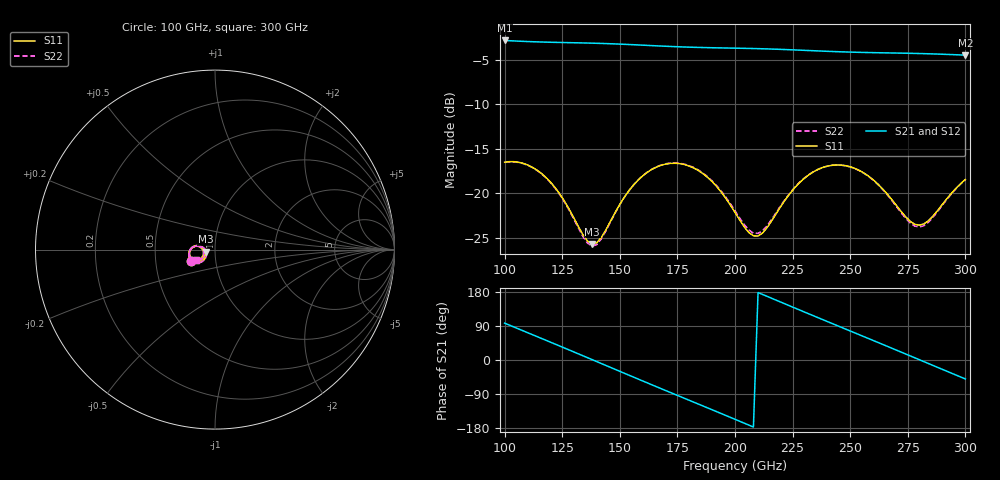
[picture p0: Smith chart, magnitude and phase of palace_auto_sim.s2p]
#  GHZ S DB R 50
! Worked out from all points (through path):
!   101 points, 100 GHz to 300 GHz, reference 50 ohm
!   highest |S21| = -2.82 dB at 100 GHz (marker M1); lowest = -4.5 dB at 300 GHz (marker M2)
!   group delay of S21, straight-line fit = 7.05 ps
!   lowest |S11| = -25.7 dB at 138 GHz (marker M3), VSWR 1.11, Z = 45.2 - j1.06 ohm
!   |S11| at or under -10 dB: start of sweep to end of sweep
!   |S22| runs from -25.9 to -16.5 dB; largest |S21 - S12| = 1.2e-13
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100  -16.49 -154.7  -2.82 97.3  -2.82 97.3  -16.51 -155.1
108  -16.62 -169.6  -2.92 77.1  -2.92 77.1  -16.65 -170.0
116  -17.76 177.0  -2.99 56.9  -2.99 56.9  -17.80 176.6
126  -20.88 167.0  -3.06 31.6  -3.06 31.6  -20.97 166.5
134  -24.63 176.7  -3.10 11.2  -3.10 11.2  -24.84 176.5
138  -25.69 -166.9  -3.13 0.9  -3.13 0.9  -25.92 -166.4
142  -24.94 -149.5  -3.16 -9.3  -3.16 -9.3  -25.10 -148.3
152  -20.41 -137.5  -3.25 -35.0  -3.25 -35.0  -20.42 -136.4
168  -16.83 -157.4  -3.45 -75.8  -3.45 -75.8  -16.80 -156.6
176  -16.65 -170.5  -3.54 -95.9  -3.54 -95.9  -16.61 -169.7
184  -17.42 177.3  -3.60 -116.0  -3.60 -116.0  -17.36 178.1
200  -22.13 167.5  -3.69 -156.5  -3.69 -156.5  -21.95 168.5
210  -24.78 -164.7  -3.74 178.0  -3.74 178.0  -24.49 -165.2
222  -20.66 -142.8  -3.84 147.3  -3.84 147.3  -20.57 -143.8
234  -17.58 -153.1  -3.98 116.9  -3.98 116.9  -17.56 -153.8
242  -16.85 -164.3  -4.06 96.7  -4.06 96.7  -16.84 -164.9
250  -17.01 -175.8  -4.13 76.6  -4.13 76.6  -17.02 -176.4
258  -18.06 174.4  -4.18 56.5  -4.18 56.5  -18.10 173.7
268  -20.67 169.4  -4.23 31.3  -4.23 31.3  -20.77 168.7
280  -23.57 -169.0  -4.29 0.8  -4.29 0.8  -23.78 -168.8
290  -21.24 -149.0  -4.37 -24.7  -4.37 -24.7  -21.33 -148.2
300  -18.43 -151.2  -4.47 -50.1  -4.47 -50.1  -18.46 -150.6
